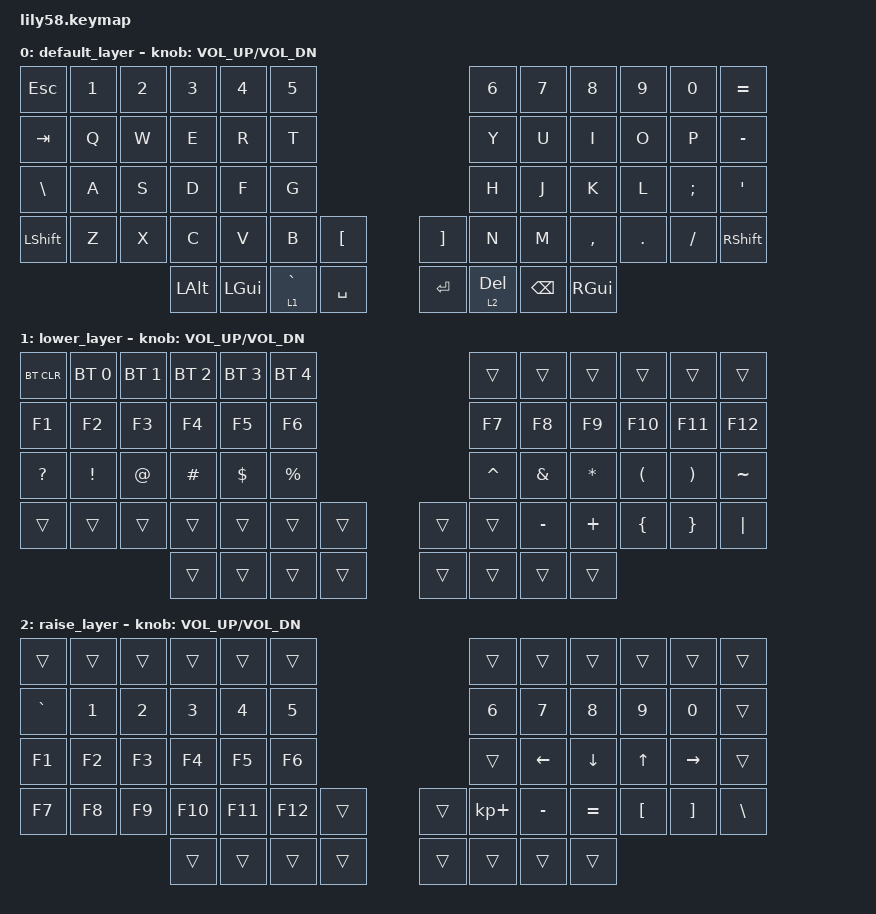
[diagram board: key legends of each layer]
#include <behaviors.dtsi>
#include <dt-bindings/zmk/bt.h>
#include <dt-bindings/zmk/keys.h>

#define BASE  0
#define LOWER 1
#define RAISE 2
#define RUS   3

/ {
    combos {
        compatible = "zmk,combos";

        // F+J одновременно = переключить русский слой
        // J+K одновременно = Escape

        combo_esc {
            timeout-ms = <50>;
            key-positions = <31 32>;
            bindings = <&kp ESC>;
        };

        Copy {
            bindings = <&kt LC(C)>;
            key-positions = <28 27>;
        };

        Paste {
            bindings = <&kt LC(V)>;
            key-positions = <15 16>;
        };

        Mute {
            bindings = <&kp K_MUTE>;
            key-positions = <45 46>;
        };

        Find {
            bindings = <&kt LC(LS(F))>;
            key-positions = <39 40>;
        };
    };

    behaviors {
        hm: hm {
            compatible = "zmk,behavior-hold-tap";
            #binding-cells = <2>;
            flavor = "balanced";
            tapping-term-ms = <200>;
            quick-tap-ms = <175>;
            require-prior-idle-ms = <125>;
            bindings = <&kp>, <&kp>;
        };
    };

    keymap {
        compatible = "zmk,keymap";

        // ---------------------------------------------------------
        // BASE: английский QWERTY
        // Home Row Mods (hold = mod, tap = буква):
        //   A=Ctrl  S=Alt  D=Shift  F=GUI
        //   J=GUI   K=Shift  L=Alt  ;=Ctrl
        // Thumb: LOWER слой через lt (layer-tap)
        // ---------------------------------------------------------

        default_layer {
            bindings = <
&kp ESC        &kp N1  &kp N2  &kp N3    &kp N4    &kp N5                                              &kp N6        &kp N7    &kp N8         &kp N9   &kp N0    &kp EQUAL
&kp TAB        &kp Q   &kp W   &kp E     &kp R     &kp T                                               &kp Y         &kp U     &kp I          &kp O    &kp P     &kp MINUS
&kp BACKSLASH  &kp A   &kp S   &kp D     &kp F     &kp G                                               &kp H         &kp J     &kp K          &kp L    &kp SEMI  &kp SQT
&kp LSHFT      &kp Z   &kp X   &kp C     &kp V     &kp B        &kp LEFT_BRACKET    &kp RIGHT_BRACKET  &kp N         &kp M     &kp COMMA      &kp DOT  &kp FSLH  &kp RSHFT
                               &kp LALT  &kp LGUI  &lt 1 GRAVE  &kp SPACE           &kp RET            &lt 2 DELETE  &kp BSPC  &kp RIGHT_GUI
            >;

            sensor-bindings = <&inc_dec_kp C_VOL_UP C_VOL_DN>;
        };

        // ---------------------------------------------------------
        // LOWER: символы, F-клавиши, Bluetooth
        // Активация: держать левый thumb (GRAVE-side)
        // ---------------------------------------------------------

        lower_layer {
            bindings = <
&bt BT_CLR    &bt BT_SEL 0  &bt BT_SEL 1  &bt BT_SEL 2  &bt BT_SEL 3  &bt BT_SEL 4                    &trans     &trans     &trans     &trans    &trans    &trans
&kp F1        &kp F2        &kp F3        &kp F4        &kp F5        &kp F6                          &kp F7     &kp F8     &kp F9     &kp F10   &kp F11   &kp F12
&kp QUESTION  &kp EXCL      &kp AT        &kp HASH      &kp DOLLAR    &kp PRCNT                       &kp CARET  &kp AMPS   &kp ASTRK  &kp LPAR  &kp RPAR  &kp TILDE
&trans        &trans        &trans        &trans        &trans        &trans        &trans    &trans  &trans     &kp MINUS  &kp PLUS   &kp LBRC  &kp RBRC  &kp PIPE
                                          &trans        &trans        &trans        &trans    &trans  &trans     &trans     &trans
            >;

            sensor-bindings = <&inc_dec_kp C_VOL_UP C_VOL_DN>;
        };

        // ---------------------------------------------------------
        // RAISE: навигация, стрелки, цифры
        // Активация: держать правый thumb (DELETE-side)
        // ---------------------------------------------------------

        raise_layer {
            bindings = <
&trans     &trans  &trans  &trans   &trans   &trans                     &trans       &trans     &trans     &trans    &trans     &trans
&kp GRAVE  &kp N1  &kp N2  &kp N3   &kp N4   &kp N5                     &kp N6       &kp N7     &kp N8     &kp N9    &kp N0     &trans
&kp F1     &kp F2  &kp F3  &kp F4   &kp F5   &kp F6                     &trans       &kp LEFT   &kp DOWN   &kp UP    &kp RIGHT  &trans
&kp F7     &kp F8  &kp F9  &kp F10  &kp F11  &kp F12  &trans    &trans  &kp KP_PLUS  &kp MINUS  &kp EQUAL  &kp LBKT  &kp RBKT   &kp BSLH
                           &trans   &trans   &trans   &trans    &trans  &trans       &trans     &trans
            >;

            sensor-bindings = <&inc_dec_kp C_VOL_UP C_VOL_DN>;
        };

        // ---------------------------------------------------------
        // RUS: кириллица ЙЦУКЕН
        // Активация: combo F+J (одновременно нажать), повтор = выкл
        // В ОС должна быть переключена раскладка на RU
        // Правый thumb внешний = Ъ (RBKT в RU раскладке)
        // ---------------------------------------------------------
    };
};
